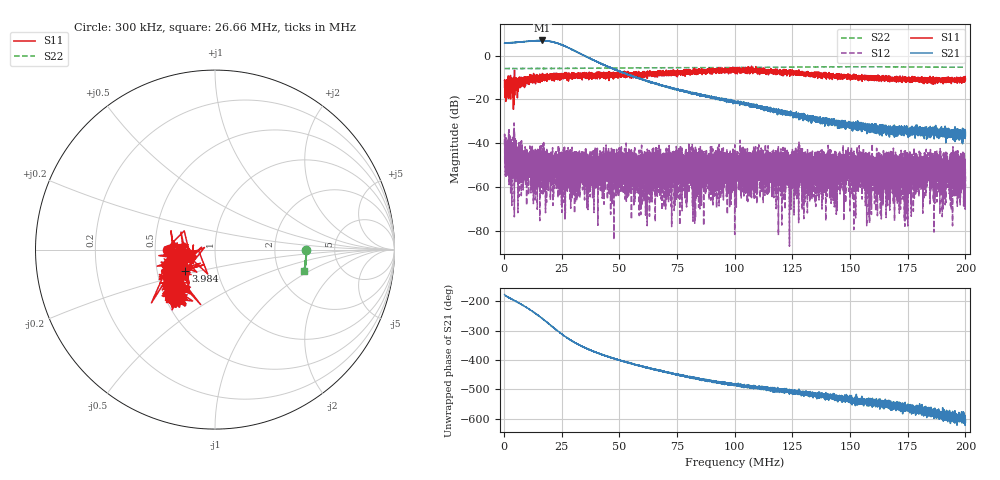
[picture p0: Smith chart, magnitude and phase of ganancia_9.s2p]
# Hz S DB R 50
! CMT, M5065, 19127446, 24.2.4/2
! Date: 11/8/2024 4:53:13 PM
! Data: Format (Calibration Info)
! Freq	S11:dB/Ang(F2)	S21:dB/Ang(F2)	S12:dB/Ang(F2)	S22:dB/Ang(F2)
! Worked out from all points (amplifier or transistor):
!   9000 points, 300 kHz to 200 MHz, reference 50 ohm
!   highest |S21| = 6.9 dB at 16.68 MHz (marker M1)
!   |S21| within 3 dB of that: start of sweep to 27.15 MHz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
!   unconditionally stable (mu >= 1): start of sweep to end of sweep
!   at 33.59 MHz: K = 112.87, MAG = 2.4 dB, |S12| = -51.4 dB
!   at 100.2 MHz: K = 755.13, MAG = -18.4 dB, |S12| = -47.8 dB
!   at 200 MHz: K = 12229.75, MAG = -34.7 dB, |S12| = -55.0 dB
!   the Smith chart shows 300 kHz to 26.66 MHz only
!   S11 on the Smith chart (normalised r, x): 300 kHz: 0.58, -0.00; 3.984 MHz: 0.70, -0.18; 26.66 MHz: 0.55, -0.37
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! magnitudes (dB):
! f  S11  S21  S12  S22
! 300 kHz  -11.5  5.7  -40.6  -5.9
! 3.984 MHz  -13.8  6.0  -45.0  -5.9
! 8.888 MHz  -12.0  6.3  -51.1  -5.9
! 16.68 MHz  -8.1  6.9  -48.0  -5.9
! 26.66 MHz  -8.7  4.2  -44.4  -5.8
! 33.59 MHz  -9.4  0.6  -51.4  -5.8
! 59.48 MHz  -8.1  -10.7  -55.0  -5.6
! 66.87 MHz  -8.4  -13.1  -54.3  -5.5
! 90.57 MHz  -7.2  -18.9  -61.5  -5.4
! 100.2 MHz  -6.3  -21.1  -47.8  -5.4
! 133.4 MHz  -8.4  -29.2  -52.1  -5.2
! 140.7 MHz  -8.6  -29.7  -46.8  -5.1
! 142.7 MHz  -9.2  -30.4  -45.1  -5.1
! 148.7 MHz  -10.3  -30.8  -50.9  -5.1
! 151.7 MHz  -9.7  -31.9  -43.6  -5.1
! 155.2 MHz  -10.1  -34.1  -49.8  -5.1
! 166.7 MHz  -10.9  -32.6  -58.9  -5.1
! 185.6 MHz  -11.7  -33.6  -51.8  -5.2
! 187.9 MHz  -11.3  -34.9  -56.5  -5.2
! 190.3 MHz  -12.1  -37.1  -49.6  -5.2
! 192.4 MHz  -11.0  -34.3  -60.1  -5.2
! 200 MHz  -10.5  -36.6  -55.0  -5.3
